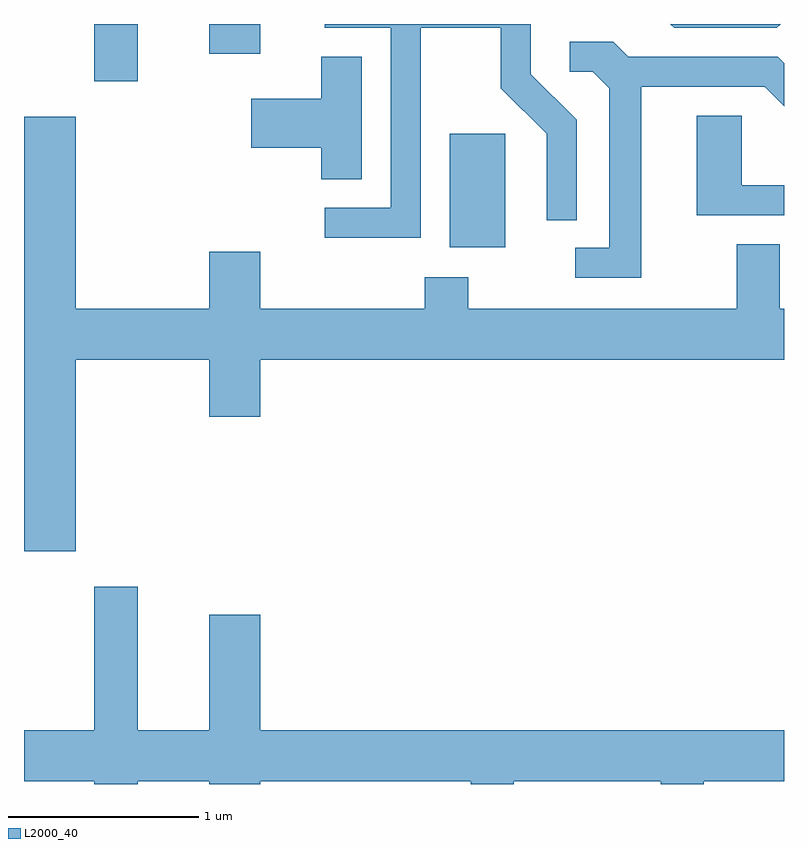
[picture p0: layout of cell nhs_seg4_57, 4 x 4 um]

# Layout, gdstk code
import gdstk
lib = gdstk.Library(unit=1e-6, precision=1e-09)
def R(c, l, rs):  # rectangles x0, y0, x1, y1
    for r in rs: c.add(gdstk.rectangle(r[:2], r[2:], *l))
def P(c, l, *ps):  # polygons
    for p in ps: c.add(gdstk.Polygon(p, *l))
L2000_40 = (2000, 40)

nhs_seg4_57 = lib.new_cell('nhs_seg4_57')
R(nhs_seg4_57, L2000_40, [(187.851,1370.806,188.144,1371.404), (185.981,1371.681,186.209,1371.982), (186.586,1371.826,186.854,1371.982)])
P(nhs_seg4_57, L2000_40, [(189.593,1371.982),(189.013,1371.982),(189.034,1371.961),(189.572,1371.961)],
  [(187.699,1371.961),(188.121,1371.961),(188.121,1371.644),(188.361,1371.404),(188.361,1370.948),(188.519,1370.948),(188.519,1371.477),(188.279,1371.717),(188.279,1371.982),(187.193,1371.982),(187.193,1371.961),(187.541,1371.961),(187.541,1371.014),(187.193,1371.014),(187.193,1370.856),(187.699,1370.856)],
  [(188.859,1371.651),(189.509,1371.651),(189.611,1371.549),(189.611,1371.775),(189.577,1371.809),(188.792,1371.809),(188.712,1371.889),(188.483,1371.889),(188.483,1371.731),(188.604,1371.731),(188.691,1371.644),(188.691,1370.804),(188.513,1370.804),(188.513,1370.646),(188.859,1370.646)],
  [(187.389,1371.809),(187.176,1371.809),(187.176,1371.589),(186.806,1371.589),(186.806,1371.331),(187.176,1371.331),(187.176,1371.166),(187.389,1371.166)],
  [(189.611,1371.134),(189.389,1371.134),(189.389,1371.499),(189.151,1371.499),(189.151,1370.976),(189.611,1370.976)],
  [(185.884,1370.216),(186.586,1370.216),(186.586,1369.916),(186.854,1369.916),(186.854,1370.216),(189.611,1370.216),(189.611,1370.484),(189.589,1370.484),(189.589,1370.824),(189.361,1370.824),(189.361,1370.484),(187.949,1370.484),(187.949,1370.649),(187.721,1370.649),(187.721,1370.484),(186.854,1370.484),(186.854,1370.784),(186.586,1370.784),(186.586,1370.484),(185.884,1370.484),(185.884,1371.494),(185.611,1371.494),(185.611,1369.206),(185.884,1369.206)],
  [(186.209,1367.996),(186.586,1367.996),(186.586,1367.982),(186.854,1367.982),(186.854,1367.996),(187.961,1367.996),(187.961,1367.982),(188.189,1367.982),(188.189,1367.996),(188.961,1367.996),(188.961,1367.982),(189.189,1367.982),(189.189,1367.996),(189.611,1367.996),(189.611,1368.264),(186.854,1368.264),(186.854,1368.874),(186.586,1368.874),(186.586,1368.264),(186.209,1368.264),(186.209,1369.019),(185.981,1369.019),(185.981,1368.264),(185.611,1368.264),(185.611,1367.996),(185.981,1367.996),(185.981,1367.982),(186.209,1367.982)])

lib.write_gds('nhs_seg4_57.gds')
